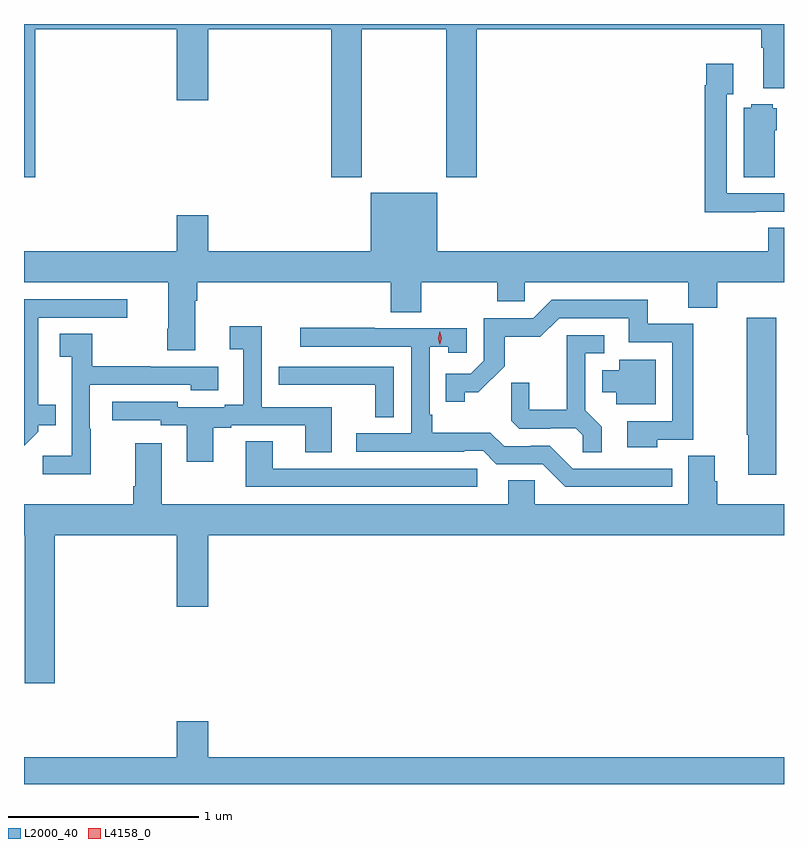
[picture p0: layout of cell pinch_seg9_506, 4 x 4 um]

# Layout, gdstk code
import gdstk
lib = gdstk.Library(unit=1e-6, precision=1e-09)
def P(c, l, *ps):  # polygons
    for p in ps: c.add(gdstk.Polygon(p, *l))
L2000_40 = (2000, 40)
L4158_0 = (4158, 0)

pinch_seg9_506 = lib.new_cell('pinch_seg9_506')
P(pinch_seg9_506, L2000_40, [(344.081,1199.084),(344.828,1199.084),(344.828,1198.71),(344.992,1198.71),(344.992,1199.084),(345.641,1199.084),(345.641,1198.305),(345.801,1198.305),(345.801,1199.084),(346.246,1199.084),(346.246,1198.305),(346.406,1198.305),(346.406,1199.084),(347.903,1199.084),(347.903,1198.988),(347.915,1198.988),(347.915,1198.775),(348.023,1198.775),(348.023,1199.112),(344.023,1199.112),(344.023,1198.305),(344.081,1198.305)],
  [(347.875,1198.125),(348.023,1198.125),(348.023,1198.221),(347.721,1198.221),(347.721,1198.742),(347.755,1198.742),(347.755,1198.903),(347.613,1198.903),(347.613,1198.79),(347.605,1198.79),(347.605,1198.121),(347.875,1198.121)],
  [(347.974,1198.554),(347.986,1198.554),(347.986,1198.668),(347.964,1198.668),(347.964,1198.69),(347.85,1198.69),(347.85,1198.672),(347.81,1198.672),(347.81,1198.306),(347.974,1198.306)],
  [(344.923,1197.656),(344.936,1197.656),(344.936,1197.752),(345.953,1197.752),(345.953,1197.595),(346.113,1197.595),(346.113,1197.752),(346.513,1197.752),(346.513,1197.654),(346.659,1197.654),(346.659,1197.752),(347.519,1197.752),(347.519,1197.619),(347.672,1197.619),(347.672,1197.752),(348.023,1197.752),(348.023,1198.04),(347.939,1198.04),(347.939,1197.916),(346.198,1197.916),(346.198,1198.225),(345.848,1198.225),(345.848,1197.916),(344.992,1197.916),(344.992,1198.105),(344.828,1198.105),(344.828,1197.916),(344.023,1197.916),(344.023,1197.752),(344.783,1197.752),(344.783,1197.508),(344.776,1197.508),(344.776,1197.396),(344.923,1197.396)],
  [(344.097,1196.967),(344.097,1196.999),(344.189,1196.999),(344.189,1197.109),(344.098,1197.109),(344.098,1197.567),(344.566,1197.567),(344.566,1197.663),(344.023,1197.663),(344.023,1196.893)],
  [(347.355,1196.925),(347.545,1196.925),(347.545,1197.534),(347.306,1197.534),(347.306,1197.66),(346.8,1197.66),(346.704,1197.564),(346.443,1197.564),(346.443,1197.339),(346.374,1197.27),(346.243,1197.27),(346.243,1197.123),(346.344,1197.123),(346.344,1197.173),(346.414,1197.173),(346.552,1197.31),(346.552,1197.466),(346.741,1197.466),(346.839,1197.564),(347.207,1197.564),(347.207,1197.438),(347.436,1197.438),(347.436,1197.021),(347.199,1197.021),(347.199,1196.885),(347.355,1196.885)],
  [(347.981,1197.565),(347.827,1197.565),(347.827,1196.951),(347.834,1196.951),(347.834,1196.739),(347.981,1196.739)],
  [(345.019,1196.988),(345.115,1196.988),(345.115,1197),(345.503,1197),(345.503,1196.857),(345.643,1196.857),(345.643,1197.096),(345.273,1197.096),(345.273,1197.52),(345.105,1197.52),(345.105,1197.4),(345.176,1197.4),(345.176,1197.109),(345.08,1197.109),(345.08,1197.096),(344.832,1197.096),(344.832,1197.123),(344.487,1197.123),(344.487,1197.027),(344.742,1197.027),(344.742,1197),(344.879,1197),(344.879,1196.808),(345.019,1196.808)],
  [(347.434,1196.772),(346.911,1196.772),(346.791,1196.892),(346.69,1196.892),(346.69,1196.889),(346.551,1196.889),(346.478,1196.962),(346.171,1196.962),(346.171,1197.055),(346.158,1197.055),(346.158,1197.413),(346.257,1197.413),(346.257,1197.381),(346.353,1197.381),(346.353,1197.51),(345.869,1197.51),(345.869,1197.513),(345.477,1197.513),(345.477,1197.414),(346.062,1197.414),(346.062,1196.958),(345.771,1196.958),(345.771,1196.862),(346.34,1196.862),(346.34,1196.865),(346.44,1196.865),(346.509,1196.796),(346.752,1196.796),(346.872,1196.676),(347.434,1196.676)],
  [(344.373,1196.981),(344.37,1196.981),(344.37,1197.213),(344.901,1197.213),(344.901,1197.185),(345.046,1197.185),(345.046,1197.309),(344.687,1197.309),(344.687,1197.312),(344.383,1197.312),(344.383,1197.482),(344.211,1197.482),(344.211,1197.361),(344.274,1197.361),(344.274,1196.839),(344.121,1196.839),(344.121,1196.741),(344.373,1196.741)],
  [(347.063,1196.993),(346.977,1197.079),(346.977,1197.378),(347.077,1197.378),(347.077,1197.474),(346.88,1197.474),(346.88,1197.082),(346.682,1197.082),(346.682,1197.225),(346.588,1197.225),(346.588,1197.023),(346.629,1196.982),(346.794,1196.982),(346.794,1196.985),(346.928,1196.985),(346.965,1196.948),(346.965,1196.857),(347.063,1196.857)],
  [(347.347,1197.346),(347.156,1197.346),(347.156,1197.289),(347.066,1197.289),(347.066,1197.173),(347.141,1197.173),(347.141,1197.11),(347.347,1197.11)],
  [(345.969,1197.309),(345.363,1197.309),(345.363,1197.214),(345.475,1197.214),(345.475,1197.213),(345.871,1197.213),(345.871,1197.043),(345.969,1197.043)],
  [(346.408,1196.772),(345.331,1196.772),(345.331,1196.915),(345.191,1196.915),(345.191,1196.676),(346.408,1196.676)],
  [(344.186,1196.42),(344.828,1196.42),(344.828,1196.046),(344.992,1196.046),(344.992,1196.42),(348.023,1196.42),(348.023,1196.584),(347.672,1196.584),(347.672,1196.706),(347.659,1196.706),(347.659,1196.84),(347.519,1196.84),(347.519,1196.584),(346.71,1196.584),(346.71,1196.711),(346.571,1196.711),(346.571,1196.584),(344.749,1196.584),(344.749,1196.905),(344.609,1196.905),(344.609,1196.68),(344.597,1196.68),(344.597,1196.584),(344.023,1196.584),(344.023,1196.42),(344.026,1196.42),(344.026,1195.641),(344.186,1195.641)],
  [(348.023,1195.252),(344.992,1195.252),(344.992,1195.441),(344.828,1195.441),(344.828,1195.252),(344.023,1195.252),(344.023,1195.112),(348.023,1195.112)])
P(pinch_seg9_506, L4158_0, [(346.212,1197.423),(346.212,1197.423),(346.202,1197.459),(346.212,1197.494),(346.212,1197.495),(346.212,1197.494),(346.222,1197.459),(346.212,1197.423)])

lib.write_gds('pinch_seg9_506.gds')
